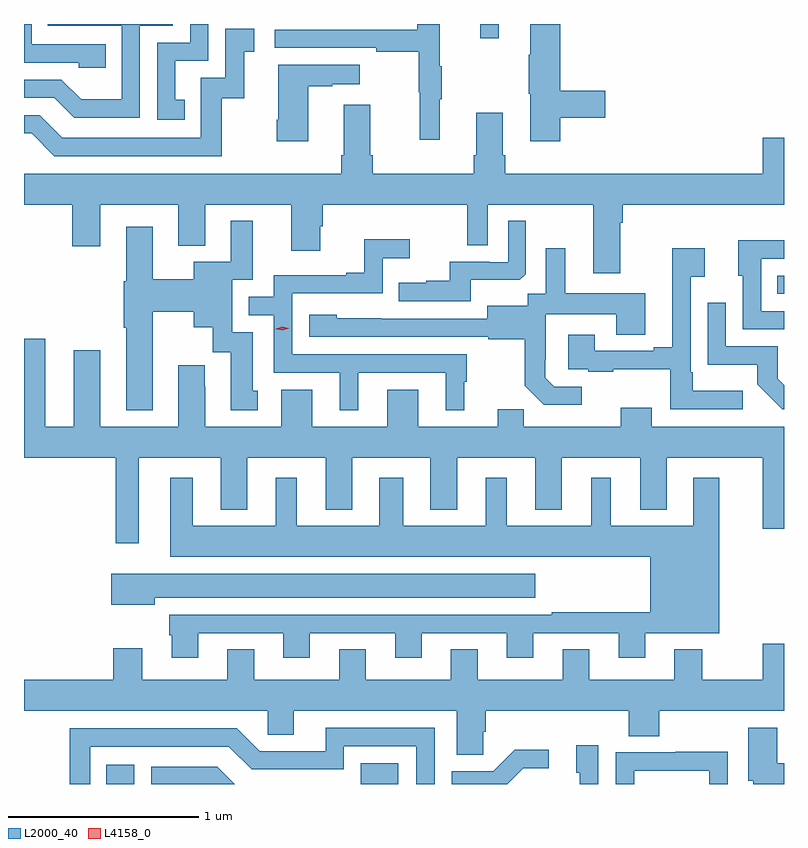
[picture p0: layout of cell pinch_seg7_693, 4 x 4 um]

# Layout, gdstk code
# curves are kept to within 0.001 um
import gdstk
lib = gdstk.Library(unit=1e-6, precision=1e-09)
def R(c, l, rs):  # rectangles x0, y0, x1, y1
    for r in rs: c.add(gdstk.rectangle(r[:2], r[2:], *l))
def P(c, l, *ps):  # polygons
    for p in ps: c.add(gdstk.Polygon(p, *l))
L2000_40 = (2000, 40)
L4158_0 = (4158, 0)

pinch_seg7_693 = lib.new_cell('pinch_seg7_693')
R(pinch_seg7_693, L2000_40, [(365.35,1024.207,365.496,1024.309), (366.688,1024.207,366.886,1024.315), (368.881,1026.786,368.916,1026.882), (367.317,1028.132,367.414,1028.207)])
P(pinch_seg7_693, L2000_40, [(365.526,1028.199),(365.7,1028.199),(365.7,1028.207),(365.041,1028.207),(365.041,1028.199),(365.43,1028.199),(365.43,1027.81),(365.216,1027.81),(365.112,1027.914),(364.916,1027.914),(364.916,1027.818),(365.075,1027.818),(365.18,1027.713),(365.526,1027.713)],
  [(367.739,1027.714),(367.975,1027.714),(367.975,1027.856),(367.739,1027.856),(367.739,1028.207),(367.58,1028.207),(367.58,1028.045),(367.573,1028.045),(367.573,1027.839),(367.58,1027.839),(367.58,1027.59),(367.739,1027.59)],
  [(367.103,1027.811),(367.114,1027.811),(367.114,1027.985),(367.103,1027.985),(367.103,1028.207),(366.985,1028.207),(366.985,1028.178),(366.237,1028.178),(366.237,1028.082),(366.769,1028.082),(366.769,1028.062),(366.993,1028.062),(366.993,1027.848),(367,1027.848),(367,1027.599),(367.103,1027.599)],
  [(365.762,1027.809),(365.713,1027.809),(365.713,1028.013),(365.886,1028.013),(365.886,1028.207),(365.79,1028.207),(365.79,1028.109),(365.616,1028.109),(365.616,1027.704),(365.762,1027.704)],
  [(365.345,1028.1),(364.956,1028.1),(364.956,1028.207),(364.916,1028.207),(364.916,1028.004),(365.205,1028.004),(365.205,1027.977),(365.345,1027.977)],
  [(365.956,1027.815),(366.074,1027.815),(366.074,1028.061),(366.127,1028.061),(366.127,1028.182),(365.976,1028.182),(365.976,1027.923),(365.847,1027.923),(365.847,1027.608),(365.118,1027.608),(364.998,1027.728),(364.916,1027.728),(364.916,1027.632),(364.956,1027.632),(365.076,1027.512),(365.956,1027.512)],
  [(366.412,1027.879),(366.539,1027.879),(366.539,1027.889),(366.682,1027.889),(366.682,1027.993),(366.254,1027.993),(366.254,1027.702),(366.247,1027.702),(366.247,1027.59),(366.412,1027.59)],
  [(368.053,1027.16),(368.066,1027.16),(368.066,1027.256),(368.916,1027.256),(368.916,1027.609),(368.804,1027.609),(368.804,1027.42),(367.448,1027.42),(367.448,1027.516),(367.435,1027.516),(367.435,1027.741),(367.295,1027.741),(367.295,1027.516),(367.283,1027.516),(367.283,1027.42),(366.752,1027.42),(366.752,1027.516),(366.739,1027.516),(366.739,1027.783),(366.599,1027.783),(366.599,1027.516),(366.587,1027.516),(366.587,1027.42),(364.916,1027.42),(364.916,1027.256),(365.17,1027.256),(365.17,1027.038),(365.317,1027.038),(365.317,1027.256),(365.729,1027.256),(365.729,1027.04),(365.869,1027.04),(365.869,1027.256),(366.323,1027.256),(366.323,1027.014),(366.475,1027.014),(366.475,1027.143),(366.488,1027.143),(366.488,1027.256),(367.248,1027.256),(367.248,1027.042),(367.356,1027.042),(367.356,1027.256),(367.913,1027.256),(367.913,1026.894),(368.053,1026.894)],
  [(367.267,1026.86),(367.525,1026.86),(367.557,1026.891),(367.557,1027.171),(367.464,1027.171),(367.464,1026.954),(367.364,1026.954),(367.364,1026.957),(367.157,1026.957),(367.157,1026.856),(367.033,1026.856),(367.033,1026.844),(366.889,1026.844),(366.889,1026.747),(367.267,1026.747)],
  [(365.593,1026.692),(365.81,1026.692),(365.81,1026.611),(365.909,1026.611),(365.909,1026.48),(366.005,1026.48),(366.005,1026.174),(366.145,1026.174),(366.145,1026.276),(366.121,1026.276),(366.121,1026.585),(366.012,1026.585),(366.012,1026.861),(366.121,1026.861),(366.121,1027.171),(366.005,1027.171),(366.005,1026.955),(365.81,1026.955),(365.81,1026.864),(365.593,1026.864),(365.593,1027.141),(365.453,1027.141),(365.453,1026.852),(365.441,1026.852),(365.441,1026.608),(365.453,1026.608),(365.453,1026.173),(365.593,1026.173)],
  [(366.676,1026.372),(367.136,1026.372),(367.136,1026.173),(367.234,1026.173),(367.234,1026.324),(367.246,1026.324),(367.246,1026.468),(366.327,1026.468),(366.327,1026.789),(366.804,1026.789),(366.804,1026.974),(366.946,1026.974),(366.946,1027.073),(366.706,1027.073),(366.706,1026.898),(366.611,1026.898),(366.611,1026.885),(366.231,1026.885),(366.231,1026.771),(366.098,1026.771),(366.098,1026.675),(366.231,1026.675),(366.231,1026.372),(366.578,1026.372),(366.578,1026.173),(366.676,1026.173)],
  [(368.916,1026.696),(368.796,1026.696),(368.796,1026.972),(368.916,1026.972),(368.916,1027.068),(368.893,1027.068),(368.893,1027.07),(368.675,1027.07),(368.675,1026.882),(368.7,1026.882),(368.7,1026.6),(368.916,1026.6)],
  [(368.698,1026.277),(368.437,1026.277),(368.437,1026.373),(368.424,1026.373),(368.424,1026.878),(368.5,1026.878),(368.5,1027.027),(368.327,1027.027),(368.327,1026.505),(368.231,1026.505),(368.231,1026.486),(367.921,1026.486),(367.921,1026.571),(367.781,1026.571),(367.781,1026.39),(367.885,1026.39),(367.885,1026.378),(368.017,1026.378),(368.017,1026.389),(368.316,1026.389),(368.316,1026.18),(368.698,1026.18)],
  [(367.852,1026.297),(367.707,1026.297),(367.66,1026.344),(367.66,1026.439),(367.662,1026.439),(367.662,1026.68),(368.033,1026.68),(368.033,1026.571),(368.185,1026.571),(368.185,1026.79),(367.765,1026.79),(367.765,1027.027),(367.661,1027.027),(367.661,1026.788),(367.566,1026.788),(367.566,1026.724),(367.355,1026.724),(367.355,1026.657),(366.561,1026.658),(366.561,1026.676),(366.417,1026.676),(366.417,1026.561),(367.359,1026.561),(367.359,1026.549),(367.551,1026.549),(367.551,1026.303),(367.651,1026.203),(367.852,1026.203)],
  [(368.916,1026.306),(368.883,1026.339),(368.883,1026.51),(368.61,1026.51),(368.61,1026.739),(368.514,1026.739),(368.514,1026.413),(368.776,1026.413),(368.776,1026.311),(368.906,1026.18),(368.916,1026.18)],
  [(368.057,1026.088),(367.547,1026.088),(367.547,1026.179),(367.409,1026.179),(367.409,1026.088),(366.991,1026.088),(366.991,1026.283),(366.827,1026.283),(366.827,1026.088),(366.433,1026.088),(366.433,1026.283),(366.269,1026.283),(366.269,1026.088),(365.869,1026.088),(365.869,1026.299),(365.866,1026.299),(365.866,1026.412),(365.729,1026.412),(365.729,1026.088),(365.317,1026.088),(365.317,1026.49),(365.177,1026.49),(365.177,1026.088),(365.029,1026.088),(365.029,1026.55),(364.916,1026.55),(364.916,1025.924),(365.4,1025.924),(365.4,1025.475),(365.521,1025.475),(365.521,1025.924),(365.951,1025.924),(365.951,1025.651),(366.091,1025.651),(366.091,1025.924),(366.503,1025.924),(366.503,1025.651),(366.643,1025.651),(366.643,1025.924),(367.055,1025.924),(367.055,1025.651),(367.195,1025.651),(367.195,1025.924),(367.607,1025.924),(367.607,1025.651),(367.747,1025.651),(367.747,1025.924),(368.159,1025.924),(368.159,1025.651),(368.299,1025.651),(368.299,1025.924),(368.804,1025.924),(368.804,1025.55),(368.916,1025.55),(368.916,1026.088),(368.221,1026.088),(368.221,1026.187),(368.057,1026.187)],
  [(365.833,1025.001),(366.281,1025.001),(366.281,1024.872),(366.421,1024.872),(366.421,1025.001),(366.869,1025.001),(366.869,1024.872),(367.009,1024.872),(367.009,1025.001),(367.457,1025.001),(367.457,1024.872),(367.597,1024.872),(367.597,1025.001),(368.045,1025.001),(368.045,1024.872),(368.185,1024.872),(368.185,1025),(368.575,1025),(368.575,1025.818),(368.438,1025.818),(368.438,1025.566),(368.005,1025.566),(368.005,1025.818),(367.901,1025.818),(367.901,1025.566),(367.456,1025.566),(367.456,1025.818),(367.346,1025.818),(367.346,1025.566),(366.913,1025.566),(366.913,1025.818),(366.785,1025.818),(366.785,1025.566),(366.352,1025.566),(366.352,1025.818),(366.242,1025.818),(366.242,1025.566),(365.803,1025.566),(365.803,1025.818),(365.687,1025.818),(365.687,1025.402),(368.213,1025.402),(368.213,1025.11),(367.693,1025.11),(367.693,1025.097),(365.681,1025.097),(365.681,1024.989),(365.693,1024.989),(365.693,1024.872),(365.833,1024.872)],
  [(365.605,1025.186),(367.606,1025.186),(367.606,1025.314),(365.376,1025.314),(365.376,1025.15),(365.605,1025.15)],
  [(367.332,1024.483),(367.346,1024.483),(367.346,1024.592),(368.099,1024.592),(368.099,1024.459),(368.259,1024.459),(368.259,1024.592),(368.916,1024.592),(368.916,1024.945),(368.804,1024.945),(368.804,1024.756),(368.487,1024.756),(368.487,1024.915),(368.339,1024.915),(368.339,1024.756),(367.891,1024.756),(367.891,1024.916),(367.751,1024.916),(367.751,1024.756),(367.303,1024.756),(367.303,1024.916),(367.163,1024.916),(367.163,1024.756),(366.715,1024.756),(366.715,1024.916),(366.575,1024.916),(366.575,1024.756),(366.127,1024.756),(366.127,1024.916),(365.987,1024.916),(365.987,1024.756),(365.539,1024.756),(365.539,1024.921),(365.387,1024.921),(365.387,1024.756),(364.916,1024.756),(364.916,1024.592),(366.198,1024.592),(366.198,1024.465),(366.337,1024.465),(366.337,1024.592),(367.193,1024.592),(367.193,1024.36),(367.332,1024.36)],
  [(368.916,1024.317),(368.881,1024.317),(368.881,1024.504),(368.729,1024.504),(368.729,1024.224),(368.753,1024.224),(368.753,1024.207),(368.916,1024.207)],
  [(365.265,1024.404),(365.994,1024.404),(366.114,1024.284),(366.6,1024.284),(366.6,1024.407),(366.981,1024.407),(366.981,1024.207),(367.077,1024.207),(367.077,1024.503),(366.503,1024.503),(366.503,1024.38),(366.156,1024.38),(366.036,1024.5),(365.157,1024.5),(365.157,1024.207),(365.265,1024.207)],
  [(367.938,1024.411),(367.823,1024.411),(367.823,1024.266),(367.842,1024.266),(367.842,1024.207),(367.938,1024.207)],
  [(367.543,1024.29),(367.678,1024.29),(367.678,1024.388),(367.499,1024.388),(367.386,1024.275),(367.167,1024.275),(367.167,1024.207),(367.46,1024.207)],
  [(368.127,1024.278),(368.523,1024.278),(368.523,1024.207),(368.619,1024.207),(368.619,1024.376),(368.347,1024.376),(368.347,1024.374),(368.031,1024.374),(368.031,1024.207),(368.127,1024.207)],
  [(365.932,1024.299),(365.586,1024.299),(365.586,1024.207),(366.024,1024.207)])
P(pinch_seg7_693, L4158_0, [(366.278,1026.594),(366.243,1026.601),(366.242,1026.602),(366.243,1026.602),(366.276,1026.614),(366.311,1026.606),(366.312,1026.606),(366.311,1026.606)])

lib.write_gds('pinch_seg7_693.gds')
